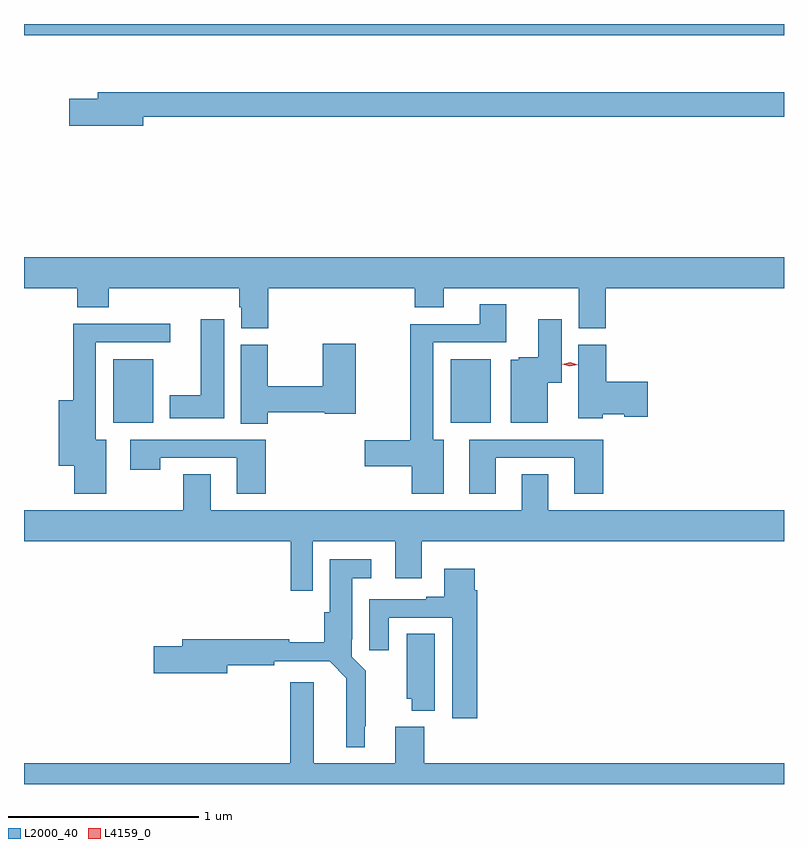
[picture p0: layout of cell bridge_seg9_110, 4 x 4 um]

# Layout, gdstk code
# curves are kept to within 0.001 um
import gdstk
lib = gdstk.Library(unit=1e-6, precision=1e-09)
def R(c, l, rs):  # rectangles x0, y0, x1, y1
    for r in rs: c.add(gdstk.rectangle(r[:2], r[2:], *l))
def P(c, l, *ps):  # polygons
    for p in ps: c.add(gdstk.Polygon(p, *l))
L2000_40 = (2000, 40)
L4159_0 = (4159, 0)

bridge_seg9_110 = lib.new_cell('bridge_seg9_110')
R(bridge_seg9_110, L2000_40, [(808.7,1179.728,808.912,1180.063), (810.476,1179.728,810.688,1180.063), (808.231,1181.768,812.231,1181.827)])
P(bridge_seg9_110, L2000_40, [(808.858,1181.338),(812.231,1181.338),(812.231,1181.467),(808.619,1181.467),(808.619,1181.433),(808.47,1181.433),(808.47,1181.291),(808.858,1181.291)],
  [(809.516,1180.436),(810.287,1180.436),(810.287,1180.337),(810.439,1180.337),(810.439,1180.436),(811.151,1180.436),(811.151,1180.225),(811.292,1180.225),(811.292,1180.436),(812.231,1180.436),(812.231,1180.6),(808.231,1180.6),(808.231,1180.436),(808.511,1180.436),(808.511,1180.337),(808.676,1180.337),(808.676,1180.436),(809.363,1180.436),(809.363,1180.335),(809.375,1180.335),(809.375,1180.225),(809.516,1180.225)],
  [(810.439,1179.64),(810.385,1179.64),(810.385,1180.152),(810.769,1180.152),(810.769,1180.351),(810.629,1180.351),(810.629,1180.248),(810.265,1180.248),(810.265,1179.635),(810.024,1179.635),(810.024,1179.5),(810.272,1179.5),(810.272,1179.354),(810.439,1179.354)],
  [(810.988,1179.938),(811.06,1179.938),(811.06,1180.273),(810.938,1180.273),(810.938,1180.072),(810.834,1180.072),(810.834,1180.06),(810.794,1180.06),(810.794,1179.728),(810.988,1179.728)],
  [(809.284,1180.273),(809.162,1180.273),(809.162,1179.874),(808.997,1179.874),(808.997,1179.752),(809.284,1179.752)],
  [(808.663,1179.64),(808.609,1179.64),(808.609,1180.152),(809.002,1180.152),(809.002,1180.25),(808.489,1180.25),(808.489,1179.847),(808.415,1179.847),(808.415,1179.503),(808.496,1179.503),(808.496,1179.354),(808.663,1179.354)],
  [(809.514,1179.784),(809.814,1179.784),(809.814,1179.776),(809.976,1179.776),(809.976,1180.144),(809.803,1180.144),(809.803,1179.92),(809.514,1179.92),(809.514,1180.14),(809.372,1180.14),(809.372,1179.724),(809.514,1179.724)],
  [(811.278,1179.773),(811.389,1179.773),(811.389,1179.761),(811.513,1179.761),(811.513,1179.944),(811.295,1179.944),(811.295,1180.14),(811.148,1180.14),(811.148,1179.752),(811.278,1179.752)],
  [(810.715,1179.543),(811.127,1179.543),(811.127,1179.354),(811.28,1179.354),(811.28,1179.639),(810.575,1179.639),(810.575,1179.354),(810.715,1179.354)],
  [(809.504,1179.639),(808.791,1179.639),(808.791,1179.48),(808.947,1179.48),(808.947,1179.543),(809.351,1179.543),(809.351,1179.354),(809.504,1179.354)],
  [(812.231,1179.268),(810.991,1179.268),(810.991,1179.458),(810.851,1179.458),(810.851,1179.268),(809.215,1179.268),(809.215,1179.458),(809.068,1179.458),(809.068,1179.268),(808.231,1179.268),(808.231,1179.104),(809.635,1179.104),(809.635,1178.844),(809.751,1178.844),(809.751,1179.104),(810.185,1179.104),(810.185,1178.91),(810.325,1178.91),(810.325,1179.104),(812.231,1179.104)],
  [(810.025,1178.131),(810.029,1178.131),(810.029,1178.422),(809.955,1178.496),(809.955,1178.59),(809.959,1178.59),(809.959,1178.909),(810.058,1178.909),(810.058,1179.01),(809.84,1179.01),(809.84,1178.73),(809.81,1178.73),(809.81,1178.573),(809.626,1178.573),(809.626,1178.588),(809.063,1178.588),(809.063,1178.552),(808.914,1178.552),(808.914,1178.41),(809.302,1178.41),(809.302,1178.452),(809.549,1178.452),(809.549,1178.472),(809.84,1178.472),(809.928,1178.384),(809.927,1178.021),(810.025,1178.021)],
  [(810.617,1178.846),(810.604,1178.846),(810.604,1178.959),(810.443,1178.959),(810.443,1178.812),(810.347,1178.812),(810.347,1178.799),(810.047,1178.799),(810.047,1178.532),(810.151,1178.532),(810.151,1178.703),(810.485,1178.703),(810.485,1178.172),(810.617,1178.172)],
  [(810.394,1178.618),(810.245,1178.618),(810.245,1178.277),(810.272,1178.277),(810.272,1178.213),(810.394,1178.213)],
  [(812.231,1177.936),(810.338,1177.936),(810.338,1178.128),(810.185,1178.128),(810.185,1177.936),(809.755,1177.936),(809.755,1178.362),(809.633,1178.362),(809.633,1177.936),(808.231,1177.936),(808.231,1177.827),(812.231,1177.827)])
P(bridge_seg9_110, L4159_0, [(811.104,1180.026),(811.063,1180.037),(811.063,1180.037),(811.063,1180.037),(811.105,1180.046),(811.145,1180.034),(811.146,1180.034),(811.145,1180.034)])

lib.write_gds('bridge_seg9_110.gds')
